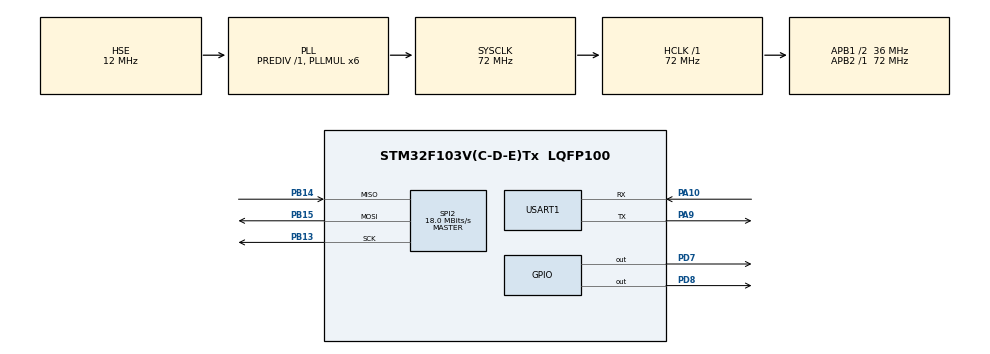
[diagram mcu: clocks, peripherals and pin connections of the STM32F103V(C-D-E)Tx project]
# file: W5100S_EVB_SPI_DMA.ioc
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Dma.Request0=SPI2_RX
Dma.Request1=SPI2_TX
Dma.SPI2_RX.0.Direction=DMA_PERIPH_TO_MEMORY
Dma.SPI2_RX.0.Instance=DMA1_Channel4
Dma.SPI2_RX.0.MemDataAlignment=DMA_MDATAALIGN_BYTE
Dma.SPI2_RX.0.MemInc=DMA_MINC_ENABLE
Dma.SPI2_RX.0.Mode=DMA_NORMAL
Dma.SPI2_RX.0.PeriphDataAlignment=DMA_PDATAALIGN_BYTE
Dma.SPI2_RX.0.PeriphInc=DMA_PINC_DISABLE
Dma.SPI2_RX.0.Priority=DMA_PRIORITY_HIGH
Dma.SPI2_TX.1.Direction=DMA_MEMORY_TO_PERIPH
Dma.SPI2_TX.1.Instance=DMA1_Channel5
Dma.SPI2_TX.1.MemDataAlignment=DMA_MDATAALIGN_BYTE
Dma.SPI2_TX.1.MemInc=DMA_MINC_ENABLE
Dma.SPI2_TX.1.Mode=DMA_NORMAL
Dma.SPI2_TX.1.PeriphDataAlignment=DMA_PDATAALIGN_BYTE
Dma.SPI2_TX.1.PeriphInc=DMA_PINC_DISABLE
Dma.SPI2_TX.1.Priority=DMA_PRIORITY_HIGH
Mcu.Family=STM32F1
Mcu.Name=STM32F103V(C-D-E)Tx
Mcu.Package=LQFP100
NVIC.DMA1_Channel4_IRQn=true\:0\:0\:false\:false\:true\:false\:true\:true
NVIC.DMA1_Channel5_IRQn=true\:0\:0\:false\:false\:true\:false\:true\:true
NVIC.PriorityGroup=NVIC_PRIORITYGROUP_4
NVIC.SPI2_IRQn=true\:0\:0\:false\:false\:true\:true\:true\:true
NVIC.TIM2_IRQn=true\:0\:0\:false\:false\:true\:true\:true\:true
NVIC.USART1_IRQn=true\:1\:0\:true\:false\:true\:true\:true\:true
OSC_IN.Mode=HSE-External-Oscillator
OSC_IN.Signal=RCC_OSC_IN
OSC_OUT.Mode=HSE-External-Oscillator
OSC_OUT.Signal=RCC_OSC_OUT
PA10.Mode=Asynchronous
PA10.Signal=USART1_RX
PA9.Mode=Asynchronous
PA9.Signal=USART1_TX
PB13.Mode=Full_Duplex_Master
PB13.Signal=SPI2_SCK
PB14.Mode=Full_Duplex_Master
PB14.Signal=SPI2_MISO
PB15.Mode=Full_Duplex_Master
PB15.Signal=SPI2_MOSI
PC13-TAMPER-RTC.Signal=RTC_OUT
PD7.Signal=GPIO_Output
PD8.Signal=GPIO_Output
ProjectManager.HeapSize=0x200
ProjectManager.StackSize=0x400
ProjectManager.TargetToolchain=STM32CubeIDE
RCC.AHBFreq_Value=72000000
RCC.APB1CLKDivider=RCC_HCLK_DIV2
RCC.APB1Freq_Value=36000000
RCC.APB1TimFreq_Value=72000000
RCC.APB2Freq_Value=72000000
RCC.APB2TimFreq_Value=72000000
RCC.HCLKFreq_Value=72000000
RCC.HSE_VALUE=12000000
RCC.PLLMUL=RCC_PLL_MUL6
RCC.PLLSourceVirtual=RCC_PLLSOURCE_HSE
RCC.SYSCLKFreq_VALUE=72000000
RCC.SYSCLKSource=RCC_SYSCLKSOURCE_PLLCLK
RCC.USBFreq_Value=72000000
SPI2.BaudRatePrescaler=SPI_BAUDRATEPRESCALER_2
SPI2.CLKPhase=SPI_PHASE_2EDGE
SPI2.CLKPolarity=SPI_POLARITY_HIGH
SPI2.CRCCalculation=SPI_CRCCALCULATION_DISABLE
SPI2.CalculateBaudRate=18.0 MBits/s
SPI2.Direction=SPI_DIRECTION_2LINES
SPI2.Mode=SPI_MODE_MASTER
SPI2.VirtualType=VM_MASTER
TIM2.AutoReloadPreload=TIM_AUTORELOAD_PRELOAD_ENABLE
TIM2.Period=10000
TIM2.Prescaler=6999
USART1.VirtualMode=VM_ASYNC
VP_TIM2_VS_ClockSourceINT.Mode=Internal
board=custom

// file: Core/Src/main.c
/* USER CODE BEGIN Header */
/**
  ******************************************************************************
  * @file           : main.c
  * @brief          : Main program body
  ******************************************************************************
  * @attention
  *
  * Copyright (c) 2022 STMicroelectronics.
  * All rights reserved.
  *
  * This software is licensed under terms that can be found in the LICENSE file
  * in the root directory of this software component.
  * If no LICENSE file comes with this software, it is provided AS-IS.
  *
  ******************************************************************************
  */
/* USER CODE END Header */
#include "main.h"

/* USER CODE BEGIN Includes */
#include <stdio.h>
#include "Application/loopback/loopback.h"
#include "socket.h"
#include "Internet/DHCP/dhcp.h"
#include "wizchip_conf.h"
#include "W5100S/w5100s.h"

/* USER CODE END Includes */

/* USER CODE BEGIN PD */

/* DMA */
#if 1
#define USE_DMA
#endif

/* CHIP SETTING */
#define W5100S_CS_PIN			GPIO_PIN_7
#define W5100S_CS_PORT			GPIOD

#define RESET_W5100S_GPIO_Port	GPIOD
#define RESET_W5100S_Pin		GPIO_PIN_8

/* ETH */
#define ETH_MAX_BUF_SIZE		2048

#define SOCKET_DHCP 3

/* USER CODE END PD */

SPI_HandleTypeDef hspi2;
DMA_HandleTypeDef hdma_spi2_rx;
DMA_HandleTypeDef hdma_spi2_tx;

TIM_HandleTypeDef htim2;

UART_HandleTypeDef huart1;

/* USER CODE BEGIN PV */

/* NET */
wiz_NetInfo gWIZNETINFO = {
		.mac = {0x00, 0x08, 0xdc, 0x6f, 0x00, 0x8a},
		.ip = {192, 168, 11, 109},
		.sn = {255, 255, 255, 0},
		.gw = {192, 168, 11, 1},
		.dns = {8, 8, 8, 8},
		.dhcp = NETINFO_DHCP
};

uint8_t ethBuf0[ETH_MAX_BUF_SIZE];
uint8_t ethBuf1[ETH_MAX_BUF_SIZE];
uint8_t ethBuf2[ETH_MAX_BUF_SIZE];
uint8_t ethBuf3[ETH_MAX_BUF_SIZE];

/* USER CODE END PV */

void SystemClock_Config(void);
static void MX_GPIO_Init(void);
static void MX_DMA_Init(void);
static void MX_USART1_UART_Init(void);
static void MX_SPI2_Init(void);
static void MX_TIM2_Init(void);
/* USER CODE BEGIN PFP */
void print_network_information();
void HAL_TIM_PeriodElapsedCallback(TIM_HandleTypeDef *htim);
static void wizchip_dhcp_assign(void);
static void wizchip_dhcp_conflict(void);
void wizchip_dhcp_init(void);

uint8_t spiReadByte(void);
void spiWriteByte(uint8_t writeByte);
uint8_t spiDmaReadByte(void);
void spiDmaWriteByte(uint8_t writeByte);
void spiReadBurst(uint8_t* pBuf, uint16_t len);
void spiWriteBurst(uint8_t* pBuf, uint16_t len);
static void csEnable(void);
static void csDisable(void);

void wizchip_reset();
void wizchip_check(void);
void wizchip_initialize(void);

/* USER CODE END PFP */

int main(void)
{
  /* USER CODE BEGIN 1 */
  uint8_t svr_ipv4[4] = {192, 168, 177, 235};
  /* USER CODE END 1 */

  /* MCU Configuration--------------------------------------------------------*/

  /* Reset of all peripherals, Initializes the Flash interface and the Systick. */
  HAL_Init();

  /* Configure the system clock */
  SystemClock_Config();

  /* Initialize all configured peripherals */
  MX_GPIO_Init();
  MX_DMA_Init();
  MX_USART1_UART_Init();
  MX_SPI2_Init();
  MX_TIM2_Init();
  /* USER CODE BEGIN 2 */

  printf("\r\n");
  printf("===========================================================\r\n");
  printf("Compiled @ %s %s\r\n", __DATE__, __TIME__);
  printf("W5100S-EVB SPI\r\n");
  printf("System start (%ld Hz)\r\n", HAL_RCC_GetSysClockFreq());
  printf("===========================================================\r\n");

  HAL_TIM_Base_Start_IT(&htim2);

  reg_wizchip_cs_cbfunc(csEnable,csDisable);// CS function register

#ifdef USE_DMA
  reg_wizchip_spi_cbfunc(spiDmaReadByte, spiDmaWriteByte);// SPI method callback registration
  reg_wizchip_spiburst_cbfunc(spiReadBurst, spiWriteBurst);// use DMA
#else
  reg_wizchip_spi_cbfunc(spiReadByte, spiWriteByte);// SPI method callback registration
  reg_wizchip_spiburst_cbfunc(0, 0);
#endif

  wizchip_initialize();

  wizchip_setnetinfo(&gWIZNETINFO);

  printf("Network Information\r\n");
  print_network_information();

  if (gWIZNETINFO.dhcp == NETINFO_DHCP) // DHCP
  {
    printf("DHCP init()\r\n");
	  wizchip_dhcp_init();

    printf("DHCP run()\r\n");
	  while (DHCP_run() != DHCP_IP_LEASED)
	      wiz_delay_ms(1000);
  }
  else // static
  {
	  ctlnetwork(CN_SET_NETINFO, &gWIZNETINFO);
	  printf("\r\n----------STATIC Net Information--------------\r\n");
    print_network_information();
  }
  /* USER CODE END 2 */

  /* Infinite loop */
  /* USER CODE BEGIN WHILE */
  while (1)
  {
#if 1
	  loopback_udps(0, ethBuf0, 50000);
#endif

#if 0
	  loopback_tcpc(1, ethBuf1, svr_ipv4, 50001);
#endif

#if 1
	  loopback_tcps(2, ethBuf2, 50002);
#endif

	  /* Assigned IP through DHCP */
    if (gWIZNETINFO.dhcp == NETINFO_DHCP)
    {
		  DHCP_run();
    }

    /* USER CODE END WHILE */

  }
}

void SystemClock_Config(void)
{
  RCC_OscInitTypeDef RCC_OscInitStruct = {0};
  RCC_ClkInitTypeDef RCC_ClkInitStruct = {0};

  /** Initializes the RCC Oscillators according to the specified parameters
  * in the RCC_OscInitTypeDef structure.
  */
  RCC_OscInitStruct.OscillatorType = RCC_OSCILLATORTYPE_HSE;
  RCC_OscInitStruct.HSEState = RCC_HSE_ON;
  RCC_OscInitStruct.HSEPredivValue = RCC_HSE_PREDIV_DIV1;
  RCC_OscInitStruct.HSIState = RCC_HSI_ON;
  RCC_OscInitStruct.PLL.PLLState = RCC_PLL_ON;
  RCC_OscInitStruct.PLL.PLLSource = RCC_PLLSOURCE_HSE;
  RCC_OscInitStruct.PLL.PLLMUL = RCC_PLL_MUL6;
  if (HAL_RCC_OscConfig(&RCC_OscInitStruct) != HAL_OK)
  {
    Error_Handler();
  }

  /** Initializes the CPU, AHB and APB buses clocks
  */
  RCC_ClkInitStruct.ClockType = RCC_CLOCKTYPE_HCLK|RCC_CLOCKTYPE_SYSCLK
                              |RCC_CLOCKTYPE_PCLK1|RCC_CLOCKTYPE_PCLK2;
  RCC_ClkInitStruct.SYSCLKSource = RCC_SYSCLKSOURCE_PLLCLK;
  RCC_ClkInitStruct.AHBCLKDivider = RCC_SYSCLK_DIV1;
  RCC_ClkInitStruct.APB1CLKDivider = RCC_HCLK_DIV2;
  RCC_ClkInitStruct.APB2CLKDivider = RCC_HCLK_DIV1;

  if (HAL_RCC_ClockConfig(&RCC_ClkInitStruct, FLASH_LATENCY_2) != HAL_OK)
  {
    Error_Handler();
  }
}

static void MX_SPI2_Init(void)
{

  /* SPI2 parameter configuration*/
  hspi2.Instance = SPI2;
  hspi2.Init.Mode = SPI_MODE_MASTER;
  hspi2.Init.Direction = SPI_DIRECTION_2LINES;
  hspi2.Init.DataSize = SPI_DATASIZE_8BIT;
  hspi2.Init.CLKPolarity = SPI_POLARITY_HIGH;
  hspi2.Init.CLKPhase = SPI_PHASE_2EDGE;
  hspi2.Init.NSS = SPI_NSS_SOFT;
  hspi2.Init.BaudRatePrescaler = SPI_BAUDRATEPRESCALER_2;
  hspi2.Init.FirstBit = SPI_FIRSTBIT_MSB;
  hspi2.Init.TIMode = SPI_TIMODE_DISABLE;
  hspi2.Init.CRCCalculation = SPI_CRCCALCULATION_DISABLE;
  hspi2.Init.CRCPolynomial = 10;
  if (HAL_SPI_Init(&hspi2) != HAL_OK)
  {
    Error_Handler();
  }

}

static void MX_TIM2_Init(void)
{

  TIM_ClockConfigTypeDef sClockSourceConfig = {0};
  TIM_MasterConfigTypeDef sMasterConfig = {0};

  htim2.Instance = TIM2;
  htim2.Init.Prescaler = 6999;
  htim2.Init.CounterMode = TIM_COUNTERMODE_UP;
  htim2.Init.Period = 10000;
  htim2.Init.ClockDivision = TIM_CLOCKDIVISION_DIV1;
  htim2.Init.AutoReloadPreload = TIM_AUTORELOAD_PRELOAD_ENABLE;
  if (HAL_TIM_Base_Init(&htim2) != HAL_OK)
  {
    Error_Handler();
  }
  sClockSourceConfig.ClockSource = TIM_CLOCKSOURCE_INTERNAL;
  if (HAL_TIM_ConfigClockSource(&htim2, &sClockSourceConfig) != HAL_OK)
  {
    Error_Handler();
  }
  sMasterConfig.MasterOutputTrigger = TIM_TRGO_RESET;
  sMasterConfig.MasterSlaveMode = TIM_MASTERSLAVEMODE_DISABLE;
  if (HAL_TIMEx_MasterConfigSynchronization(&htim2, &sMasterConfig) != HAL_OK)
  {
    Error_Handler();
  }

}

static void MX_USART1_UART_Init(void)
{

  huart1.Instance = USART1;
  huart1.Init.BaudRate = 115200;
  huart1.Init.WordLength = UART_WORDLENGTH_8B;
  huart1.Init.StopBits = UART_STOPBITS_1;
  huart1.Init.Parity = UART_PARITY_NONE;
  huart1.Init.Mode = UART_MODE_TX_RX;
  huart1.Init.HwFlowCtl = UART_HWCONTROL_NONE;
  huart1.Init.OverSampling = UART_OVERSAMPLING_16;
  if (HAL_UART_Init(&huart1) != HAL_OK)
  {
    Error_Handler();
  }

}

static void MX_DMA_Init(void)
{

  /* DMA controller clock enable */
  __HAL_RCC_DMA1_CLK_ENABLE();

  /* DMA interrupt init */
  /* DMA1_Channel4_IRQn interrupt configuration */
  HAL_NVIC_SetPriority(DMA1_Channel4_IRQn, 0, 0);
  HAL_NVIC_EnableIRQ(DMA1_Channel4_IRQn);
  /* DMA1_Channel5_IRQn interrupt configuration */
  HAL_NVIC_SetPriority(DMA1_Channel5_IRQn, 0, 0);
  HAL_NVIC_EnableIRQ(DMA1_Channel5_IRQn);

}

static void MX_GPIO_Init(void)
{
  GPIO_InitTypeDef GPIO_InitStruct = {0};

  /* GPIO Ports Clock Enable */
  __HAL_RCC_GPIOC_CLK_ENABLE();
  __HAL_RCC_GPIOB_CLK_ENABLE();
  __HAL_RCC_GPIOD_CLK_ENABLE();
  __HAL_RCC_GPIOA_CLK_ENABLE();

  /*Configure GPIO pin Output Level */
  HAL_GPIO_WritePin(GPIOD, GPIO_PIN_8|GPIO_PIN_7, GPIO_PIN_RESET);

  /*Configure GPIO pins : PD8 PD7 */
  GPIO_InitStruct.Pin = GPIO_PIN_8|GPIO_PIN_7;
  GPIO_InitStruct.Mode = GPIO_MODE_OUTPUT_PP;
  GPIO_InitStruct.Pull = GPIO_NOPULL;
  GPIO_InitStruct.Speed = GPIO_SPEED_FREQ_LOW;
  HAL_GPIO_Init(GPIOD, &GPIO_InitStruct);

}

/* USER CODE BEGIN 4 */

/* UART */
int _write(int fd, char *str, int len)
{
	for(int i=0; i<len; i++)
	{
		HAL_UART_Transmit(&huart1, (uint8_t *)&str[i], 1, 0xFFFF);
	}
	return len;
}

void print_network_information()
{
	wizchip_getnetinfo(&gWIZNETINFO);

	printf("Mac address: %02x:%02x:%02x:%02x:%02x:%02x\r\n",gWIZNETINFO.mac[0],gWIZNETINFO.mac[1],gWIZNETINFO.mac[2],gWIZNETINFO.mac[3],gWIZNETINFO.mac[4],gWIZNETINFO.mac[5]);
	printf("IP address : %d.%d.%d.%d\r\n",gWIZNETINFO.ip[0],gWIZNETINFO.ip[1],gWIZNETINFO.ip[2],gWIZNETINFO.ip[3]);
	printf("SM Mask	   : %d.%d.%d.%d\r\n",gWIZNETINFO.sn[0],gWIZNETINFO.sn[1],gWIZNETINFO.sn[2],gWIZNETINFO.sn[3]);
	printf("Gate way   : %d.%d.%d.%d\r\n",gWIZNETINFO.gw[0],gWIZNETINFO.gw[1],gWIZNETINFO.gw[2],gWIZNETINFO.gw[3]);
	printf("DNS Server : %d.%d.%d.%d\r\n",gWIZNETINFO.dns[0],gWIZNETINFO.dns[1],gWIZNETINFO.dns[2],gWIZNETINFO.dns[3]);
}

void HAL_TIM_PeriodElapsedCallback(TIM_HandleTypeDef *htim)
{
	DHCP_time_handler();
}

/* DHCP */
static void wizchip_dhcp_assign(void)
{
    getIPfromDHCP(gWIZNETINFO.ip);
    getGWfromDHCP(gWIZNETINFO.gw);
    getSNfromDHCP(gWIZNETINFO.sn);
    getDNSfromDHCP(gWIZNETINFO.dns);
    gWIZNETINFO.dhcp = NETINFO_DHCP;

    ctlnetwork(CN_SET_NETINFO, &gWIZNETINFO);
    printf("\r\n----------DHCP Net Information--------------\r\n");
    print_network_information();
}

static void wizchip_dhcp_conflict(void)
{
	printf("wizchip_dhcp_conflict\r\n");
}

void wizchip_dhcp_init(void)
{
    DHCP_init(SOCKET_DHCP, ethBuf3);
    reg_dhcp_cbfunc(wizchip_dhcp_assign, wizchip_dhcp_assign, wizchip_dhcp_conflict);
}

/* SPI */
uint8_t spiReadByte(void)
{
	uint8_t readByte=0;
	uint8_t writeByte=0xFF;

	while(HAL_SPI_GetState(&hspi2)!=HAL_SPI_STATE_READY);
	HAL_SPI_TransmitReceive(&hspi2, &writeByte, &readByte, 1, 10);

	return readByte;
}

void spiWriteByte(uint8_t writeByte)
{
	uint8_t readByte=0;

	while(HAL_SPI_GetState(&hspi2)!=HAL_SPI_STATE_READY);
	HAL_SPI_TransmitReceive(&hspi2, &writeByte, &readByte, 1, 10);
}

/* SPI DMA */
uint8_t spiDmaReadByte(void)
{
	uint8_t readByte=0;

	while(HAL_SPI_GetState(&hspi2) != HAL_SPI_STATE_READY &&
		  HAL_DMA_GetState(hspi2.hdmarx) != HAL_DMA_STATE_READY && HAL_DMA_GetState(hspi2.hdmatx) != HAL_DMA_STATE_READY);

	HAL_SPI_Receive_DMA(&hspi2, &readByte, 1);

	while (HAL_DMA_GetState(hspi2.hdmarx) == HAL_DMA_STATE_BUSY|| HAL_DMA_GetState(hspi2.hdmarx) == HAL_DMA_STATE_RESET);
	while (HAL_DMA_GetState(hspi2.hdmatx) == HAL_DMA_STATE_BUSY|| HAL_DMA_GetState(hspi2.hdmatx) == HAL_DMA_STATE_RESET);

	return readByte;

}

void spiDmaWriteByte(uint8_t writeByte)
{
	while(HAL_SPI_GetState(&hspi2) != HAL_SPI_STATE_READY &&
		  HAL_DMA_GetState(hspi2.hdmarx) != HAL_DMA_STATE_READY && HAL_DMA_GetState(hspi2.hdmatx) != HAL_DMA_STATE_READY);

	HAL_SPI_Transmit_DMA(&hspi2, &writeByte, 1);

	while (HAL_DMA_GetState(hspi2.hdmarx) == HAL_DMA_STATE_BUSY|| HAL_DMA_GetState(hspi2.hdmarx) == HAL_DMA_STATE_RESET);
	while (HAL_DMA_GetState(hspi2.hdmatx) == HAL_DMA_STATE_BUSY|| HAL_DMA_GetState(hspi2.hdmatx) == HAL_DMA_STATE_RESET);

	return;
}

void spiReadBurst(uint8_t* pBuf, uint16_t len)
{
	while(HAL_SPI_GetState(&hspi2) != HAL_SPI_STATE_READY &&
		  HAL_DMA_GetState(hspi2.hdmarx) != HAL_DMA_STATE_READY && HAL_DMA_GetState(hspi2.hdmatx) != HAL_DMA_STATE_READY);

	HAL_SPI_Receive_DMA(&hspi2, pBuf, len);

	while (HAL_DMA_GetState(hspi2.hdmarx) == HAL_DMA_STATE_BUSY|| HAL_DMA_GetState(hspi2.hdmarx) == HAL_DMA_STATE_RESET);
	while (HAL_DMA_GetState(hspi2.hdmatx) == HAL_DMA_STATE_BUSY|| HAL_DMA_GetState(hspi2.hdmatx) == HAL_DMA_STATE_RESET);

	return;
}

void spiWriteBurst(uint8_t* pBuf, uint16_t len)
{
	while(HAL_SPI_GetState(&hspi2) != HAL_SPI_STATE_READY &&
		  HAL_DMA_GetState(hspi2.hdmarx) != HAL_DMA_STATE_READY && HAL_DMA_GetState(hspi2.hdmatx) != HAL_DMA_STATE_READY);

	HAL_SPI_Transmit_DMA(&hspi2, pBuf, len);

	while (HAL_DMA_GetState(hspi2.hdmarx) == HAL_DMA_STATE_BUSY|| HAL_DMA_GetState(hspi2.hdmarx) == HAL_DMA_STATE_RESET);
	while (HAL_DMA_GetState(hspi2.hdmatx) == HAL_DMA_STATE_BUSY|| HAL_DMA_GetState(hspi2.hdmatx) == HAL_DMA_STATE_RESET);

	return;
}

/* SPI CS CTRL */
static void csEnable(void)
{
	HAL_GPIO_WritePin(W5100S_CS_PORT, W5100S_CS_PIN, GPIO_PIN_RESET);
}

static void csDisable(void)
{
	HAL_GPIO_WritePin(W5100S_CS_PORT, W5100S_CS_PIN, GPIO_PIN_SET);
}

/* CHIP INIT */
void wizchip_reset()
{
	HAL_GPIO_WritePin(RESET_W5100S_GPIO_Port, RESET_W5100S_Pin, GPIO_PIN_RESET);
	HAL_Delay(10);
	HAL_GPIO_WritePin(RESET_W5100S_GPIO_Port, RESET_W5100S_Pin, GPIO_PIN_SET);
	HAL_Delay(100);
}

void wizchip_check(void)
{
    /* Read version register */
    if (getVER() != 0x51) // W5100S
    {
        printf(" ACCESS ERR : VERSIONR != 0x51, read value = 0x%02x\n", getVER());
        while (1);
    }
}

void wizchip_initialize(void)
{
	uint8_t W5100S_AdrSet[2][4]= {{2,2,2,2},{2,2,2,2}};
  uint8_t tmp1, tmp2;
	intr_kind temp= IK_DEST_UNREACH;

	wizchip_reset();
	if (ctlwizchip(CW_INIT_WIZCHIP, (void*)W5100S_AdrSet) == -1)
		printf(">>>>W5100s memory initialization failed\r\n");

	if(ctlwizchip(CW_SET_INTRMASK,&temp) == -1)
		printf("W5100S interrupt\r\n");

	wizchip_check();
	while(1)
	{
		ctlwizchip(CW_GET_PHYLINK, &tmp1 );
		ctlwizchip(CW_GET_PHYLINK, &tmp2 );
		if(tmp1==PHY_LINK_ON && tmp2==PHY_LINK_ON) break;
	}
}

/* USER CODE END 4 */

void Error_Handler(void)
{
  __disable_irq();
  while (1)
  {
  }
}
